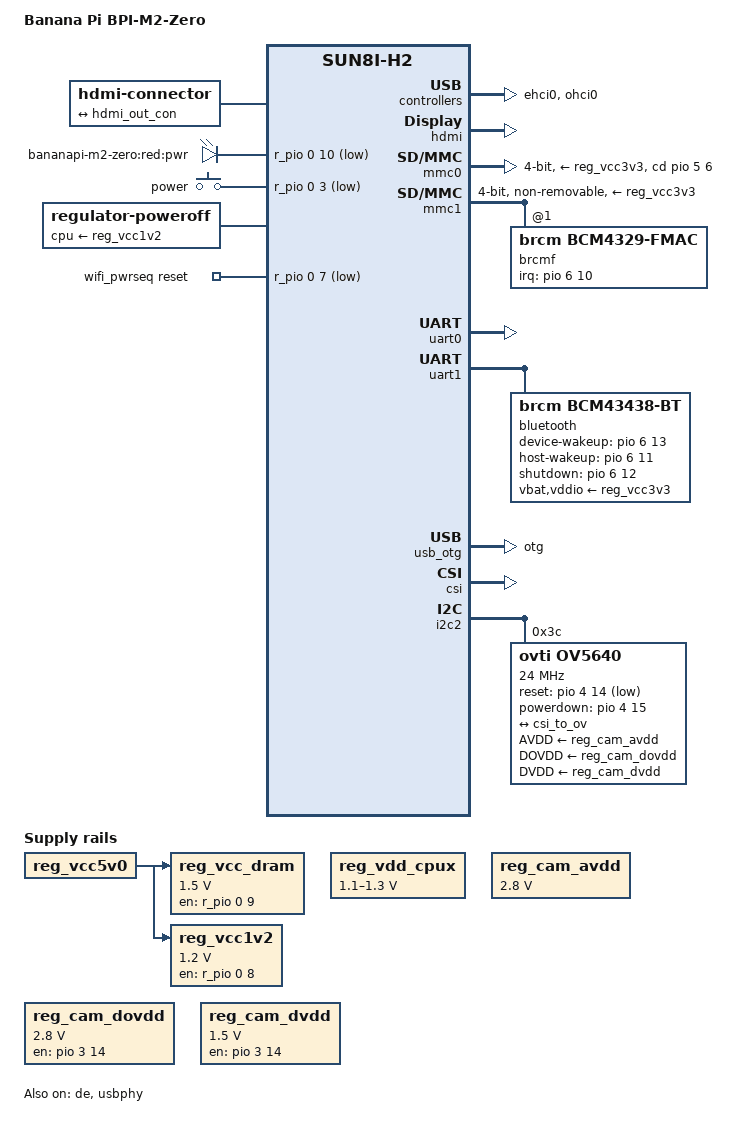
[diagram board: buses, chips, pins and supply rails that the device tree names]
// SPDX-License-Identifier: (GPL-2.0+ OR MIT)
/*
 * Copyright (C) 2017 Icenowy Zheng <icenowy@aosc.io>
 *
 * Based on sun8i-h3-bananapi-m2-plus.dts, which is:
 *   Copyright (C) 2016 Chen-Yu Tsai <wens@csie.org>
 */

/dts-v1/;
#include "sun8i-h3.dtsi"
#include "sunxi-common-regulators.dtsi"

#include <dt-bindings/gpio/gpio.h>
#include <dt-bindings/input/input.h>
#include <dt-bindings/clock/sun8i-h3-ccu.h>
#include <dt-bindings/media/video-interfaces.h>

/ {
	model = "Banana Pi BPI-M2-Zero";
	compatible = "sinovoip,bpi-m2-zero", "allwinner,sun8i-h2-plus";

	aliases {
		serial0 = &uart0;
		serial1 = &uart1;
	};

	chosen {
		stdout-path = "serial0:115200n8";
	};

	connector {
		compatible = "hdmi-connector";
		type = "c";

		port {
			hdmi_con_in: endpoint {
				remote-endpoint = <&hdmi_out_con>;
			};
		};
	};

	leds {
		compatible = "gpio-leds";

		pwr_led {
			label = "bananapi-m2-zero:red:pwr";
			gpios = <&r_pio 0 10 GPIO_ACTIVE_LOW>; /* PL10 */
			default-state = "on";
		};
	};

	gpio-keys {
		compatible = "gpio-keys";

		switch-4 {
			label = "power";
			linux,code = <KEY_POWER>;
			gpios = <&r_pio 0 3 GPIO_ACTIVE_LOW>;
			wakeup-source;
		};
	};

	reg_vdd_cpux: vdd-cpux-regulator {
		compatible = "regulator-gpio";
		regulator-name = "vdd-cpux";
		regulator-type = "voltage";
		regulator-boot-on;
		regulator-always-on;
		regulator-min-microvolt = <1100000>;
		regulator-max-microvolt = <1300000>;
		regulator-ramp-delay = <50>; /* 4ms */

		gpios = <&r_pio 0 1 GPIO_ACTIVE_HIGH>; /* PL1 */
		enable-active-high;
		gpios-states = <0x1>;
		states = <1100000 0>, <1300000 1>;
	};

	reg_vcc_dram: vcc-dram {
		compatible = "regulator-fixed";
		regulator-name = "vcc-dram";
		regulator-min-microvolt = <1500000>;
		regulator-max-microvolt = <1500000>;
		regulator-always-on;
		regulator-boot-on;
		enable-active-high;
		gpio = <&r_pio 0 9 GPIO_ACTIVE_HIGH>; /* PL9 */
		vin-supply = <&reg_vcc5v0>;
	};

	reg_vcc1v2: vcc1v2 {
		compatible = "regulator-fixed";
		regulator-name = "vcc1v2";
		regulator-min-microvolt = <1200000>;
		regulator-max-microvolt = <1200000>;
		regulator-always-on;
		regulator-boot-on;
		enable-active-high;
		gpio = <&r_pio 0 8 GPIO_ACTIVE_HIGH>; /* PL8 */
		vin-supply = <&reg_vcc5v0>;
	};

	reg_cam_avdd: cam-avdd {
		compatible = "regulator-fixed";
		regulator-name = "csi-avdd";
		regulator-min-microvolt = <2800000>;
		regulator-max-microvolt = <2800000>;
		startup-delay-us = <400>; /* 50 us + board delays */
		enable-active-high;
		//gpio = <&pio 3 14 GPIO_ACTIVE_HIGH>; /* PD14 */
	};

	reg_cam_dovdd: cam-dovdd {
		compatible = "regulator-fixed";
		regulator-name = "csi-dovdd";
		regulator-min-microvolt = <2800000>;
		regulator-max-microvolt = <2800000>;
		/*
		 * This regulator also powers the pull-ups for the I2C bus.
		 * For some reason, if this is turned off, subsequent use
		 * of the I2C bus, even when turned on, does not work.
		 */
		startup-delay-us = <200>; /* 50 us + board delays */
		enable-active-high;
		regulator-always-on;
		gpio = <&pio 3 14 GPIO_ACTIVE_HIGH>; /* PD14 */
	};

	reg_cam_dvdd: cam-dvdd {
		compatible = "regulator-fixed";
		regulator-name = "csi-dvdd";
		regulator-min-microvolt = <1500000>;
		regulator-max-microvolt = <1500000>;
		startup-delay-us = <600>; /* 50 us + board delays */
		enable-active-high;
		gpio = <&pio 3 14 GPIO_ACTIVE_HIGH>; /* PD14 */
	};

	poweroff {
		compatible = "regulator-poweroff";
		cpu-supply = <&reg_vcc1v2>;
	};

	wifi_pwrseq: pwrseq {
		compatible = "mmc-pwrseq-simple";
		reset-gpios = <&r_pio 0 7 GPIO_ACTIVE_LOW>; /* PL7 */
		clocks = <&rtc CLK_OSC32K_FANOUT>;
		clock-names = "ext_clock";
	};
};

&cpu0 {
	cpu-supply = <&reg_vdd_cpux>;
};

&de {
	status = "okay";
};

&ehci0 {
	status = "okay";
};

&hdmi {
	status = "okay";
};

&hdmi_out {
	hdmi_out_con: endpoint {
		remote-endpoint = <&hdmi_con_in>;
	};
};

&mmc0 {
	vmmc-supply = <&reg_vcc3v3>;
	bus-width = <4>;
	/*
	 * On the production batch of this board the card detect GPIO is
	 * high active (card inserted), although on the early samples it's
	 * low active.
	 */
	cd-gpios = <&pio 5 6 GPIO_ACTIVE_HIGH>; /* PF6 */
	status = "okay";
};

&mmc1 {
	vmmc-supply = <&reg_vcc3v3>;
	vqmmc-supply = <&reg_vcc3v3>;
	mmc-pwrseq = <&wifi_pwrseq>;
	bus-width = <4>;
	non-removable;
	status = "okay";

	brcmf: wifi@1 {
		reg = <1>;
		compatible = "brcm,bcm4329-fmac";
		interrupt-parent = <&pio>;
		interrupts = <6 10 IRQ_TYPE_LEVEL_LOW>; /* PG10 / EINT10 */
		interrupt-names = "host-wake";
	};
};

&ohci0 {
	status = "okay";
};

&uart0 {
	pinctrl-names = "default";
	pinctrl-0 = <&uart0_pa_pins>;
	status = "okay";
};

&uart1 {
	pinctrl-names = "default";
	pinctrl-0 = <&uart1_pins>, <&uart1_rts_cts_pins>;
	uart-has-rtscts;
	status = "okay";

	bluetooth {
		compatible = "brcm,bcm43438-bt";
		max-speed = <1500000>;
		clocks = <&rtc CLK_OSC32K_FANOUT>;
		clock-names = "lpo";
		vbat-supply = <&reg_vcc3v3>;
		vddio-supply = <&reg_vcc3v3>;
		device-wakeup-gpios = <&pio 6 13 GPIO_ACTIVE_HIGH>; /* PG13 */
		host-wakeup-gpios = <&pio 6 11 GPIO_ACTIVE_HIGH>; /* PG11 */
		shutdown-gpios = <&pio 6 12 GPIO_ACTIVE_HIGH>; /* PG12 */
	};

};

&pio {
	csi_mclk_pin: csi-mclk {
		pins = "PE1";
		function = "csi";
	};
};

&r_pio {
	gpio-line-names =
		/* PL */
		"", "CPUX-SET", "CON2-P32", "POWER-KEY", "CON2-P36",
			"VCC-IO-EN", "USB0-ID", "WL-PWR-EN",
		"PWR-STB", "PWR-DRAM", "PWR-LED", "IR-RX", "", "", "", "",
		"", "", "", "", "", "", "", "",
		"", "", "", "", "", "", "", "";
};

&usb_otg {
	dr_mode = "otg";
	status = "okay";
};

&usbphy {
	usb0_id_det-gpios = <&r_pio 0 6 GPIO_ACTIVE_HIGH>; /* PL6 */
	/*
	 * There're two micro-USB connectors, one is power-only and another is
	 * OTG. The Vbus of these two connectors are connected together, so
	 * the external USB device will be powered just by the power input
	 * from the power-only USB port.
	 */
	status = "okay";
};


&csi{
	status = "okay";

	port {
		csi_to_ov: endpoint {
			//remote-endpoint = <&ov5640_to_parallel>;
			bus-type = <MEDIA_BUS_TYPE_PARALLEL>;
			bus-width = <8>;
			data-shift = <2>;
			//hsync-active = <1>; 
			//vsync-active = <0>; 
			//data-active = <1>;  
			//pclk-sample = <1>;  
		};
	};
};


&i2c2 {
	status = "okay";

	ov5640: camera@3c {
		compatible = "ovti,ov5640";
		reg = <0x3c>;
		pinctrl-names = "default";
		pinctrl-0 = <&csi_mclk_pin>;
		clocks = <&ccu CLK_CSI_MCLK>;
		clock-names = "xclk";
		clock-frequency = <24000000>;

		reset-gpios = <&pio 4 14 GPIO_ACTIVE_LOW>; /* PE14 */
		powerdown-gpios = <&pio 4 15 GPIO_ACTIVE_HIGH>; /* PE15 */
		AVDD-supply = <&reg_cam_avdd>;
		DOVDD-supply = <&reg_cam_dovdd>;
		DVDD-supply = <&reg_cam_dvdd>;

		port {
			//#address-cells = <1>;
			//#size-cells = <0>;
			ov5640_to_parallel: endpoint {
				remote-endpoint = <&csi_to_ov>;
				bus-type = <MEDIA_BUS_TYPE_PARALLEL>;
				bus-width = <8>;
				data-shift = <2>;
				//hsync-active = <1>;
				//vsync-active = <0>;
				//data-active = <1>;
				//pclk-sample = <1>;
			};
		};
	};
};
